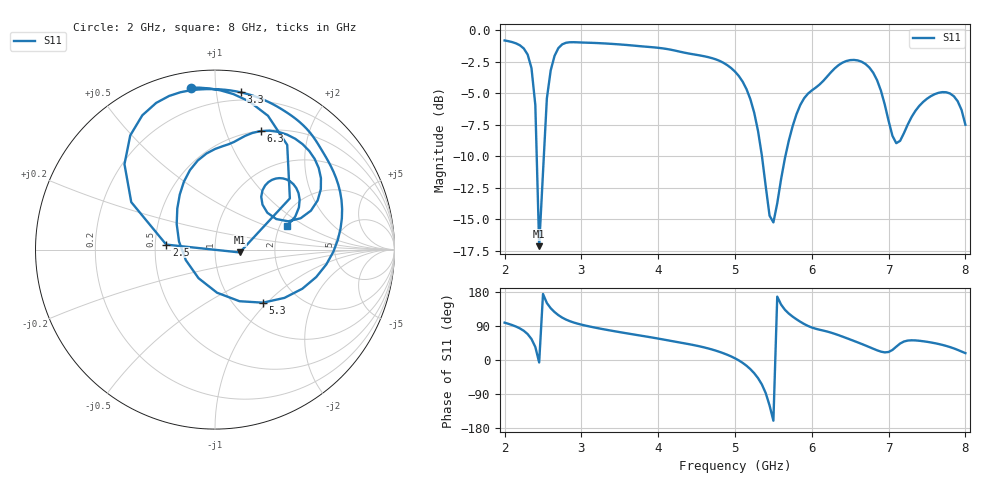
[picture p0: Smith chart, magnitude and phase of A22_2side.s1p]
! Generated by Hertzon (EMerge FEM)
# HZ S RI R 50
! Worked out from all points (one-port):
!   121 points, 2 GHz to 8 GHz, reference 50 ohm
!   lowest |S11| = -17.1 dB at 2.45 GHz (marker M1), VSWR 1.32, Z = 66 - j2.13 ohm
!   |S11| at or under -10 dB: 2.418 GHz to 2.511 GHz (92.69 MHz wide, 3.76 % of centre); 5.351 GHz to 5.655 GHz (304.2 MHz wide, 5.53 % of centre)
!   S11 on the Smith chart (normalised r, x): 2 GHz: 0.08, +0.86; 2.5 GHz: 0.57, +0.03; 3.3 GHz: 0.14, +1.17; 5.3 GHz: 1.35, -0.95; 6.3 GHz: 0.50, +1.33; 8 GHz: 2.19, +0.70
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2e9  -0.1348 0.9024
2.25e9  0.1899 0.8261
2.35e9  0.4023 0.5833
2.4e9  0.4171 0.2853
2.45e9  0.1382 -0.0158
2.5e9  -0.2717 0.0279
2.55e9  -0.4666 0.2644
2.6e9  -0.5044 0.4758
2.75e9  -0.3277 0.8173
3.3e9  0.1435 0.8762
3.5e9  0.2495 0.8436
4.25e9  0.5612 0.6083
4.7e9  0.6869 0.3616
5e9  0.6841 0.0536
5.15e9  0.564 -0.1529
5.3e9  0.2671 -0.2957
5.45e9  -0.0919 -0.1592
5.5e9  -0.1626 -0.0586
5.75e9  -0.1732 0.3783
5.9e9  -0.047 0.5358
6.3e9  0.2539 0.6603
6.5e9  0.447 0.6175
6.75e9  0.5903 0.3981
6.95e9  0.477 0.1746
7.1e9  0.2915 0.2055
7.25e9  0.2645 0.3304
7.65e9  0.4182 0.3804
8e9  0.4013 0.1314
